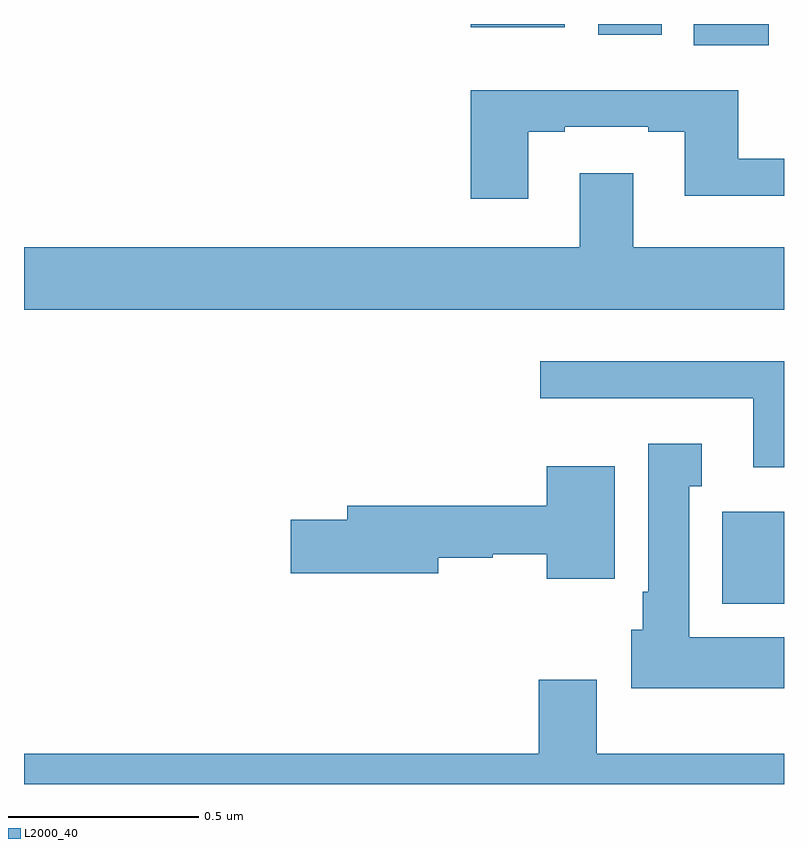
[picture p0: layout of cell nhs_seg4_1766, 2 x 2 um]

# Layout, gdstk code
import gdstk
lib = gdstk.Library(unit=1e-6, precision=1e-09)
def R(c, l, rs):  # rectangles x0, y0, x1, y1
    for r in rs: c.add(gdstk.rectangle(r[:2], r[2:], *l))
def P(c, l, *ps):  # polygons
    for p in ps: c.add(gdstk.Polygon(p, *l))
L2000_40 = (2000, 40)

nhs_seg4_1766 = lib.new_cell('nhs_seg4_1766')
R(nhs_seg4_1766, L2000_40, [(133.838,801.374,134,801.616), (133.763,802.844,133.96,802.9), (133.511,802.872,133.678,802.9), (133.176,802.892,133.423,802.9)])
P(nhs_seg4_1766, L2000_40, [(133.327,802.617),(133.423,802.617),(133.423,802.629),(133.643,802.629),(133.643,802.617),(133.739,802.617),(133.739,802.448),(134,802.448),(134,802.545),(133.879,802.545),(133.879,802.726),(133.175,802.726),(133.175,802.44),(133.327,802.44)],
  [(134,802.312),(133.603,802.312),(133.603,802.507),(133.463,802.507),(133.463,802.312),(132,802.312),(132,802.148),(134,802.148)],
  [(134,802.012),(133.359,802.012),(133.359,801.915),(133.919,801.915),(133.919,801.734),(134,801.734)],
  [(134,801.286),(133.75,801.286),(133.75,801.683),(133.783,801.683),(133.783,801.796),(133.643,801.796),(133.643,801.406),(133.628,801.406),(133.628,801.306),(133.598,801.306),(133.598,801.152),(134,801.152)],
  [(133.555,801.736),(133.376,801.736),(133.376,801.632),(132.851,801.632),(132.851,801.596),(132.702,801.596),(132.702,801.454),(133.09,801.454),(133.09,801.496),(133.233,801.496),(133.233,801.504),(133.376,801.504),(133.376,801.44),(133.555,801.44)],
  [(134,800.98),(133.507,800.98),(133.507,801.175),(133.355,801.175),(133.355,800.98),(132,800.98),(132,800.9),(134,800.9)])

lib.write_gds('nhs_seg4_1766.gds')
